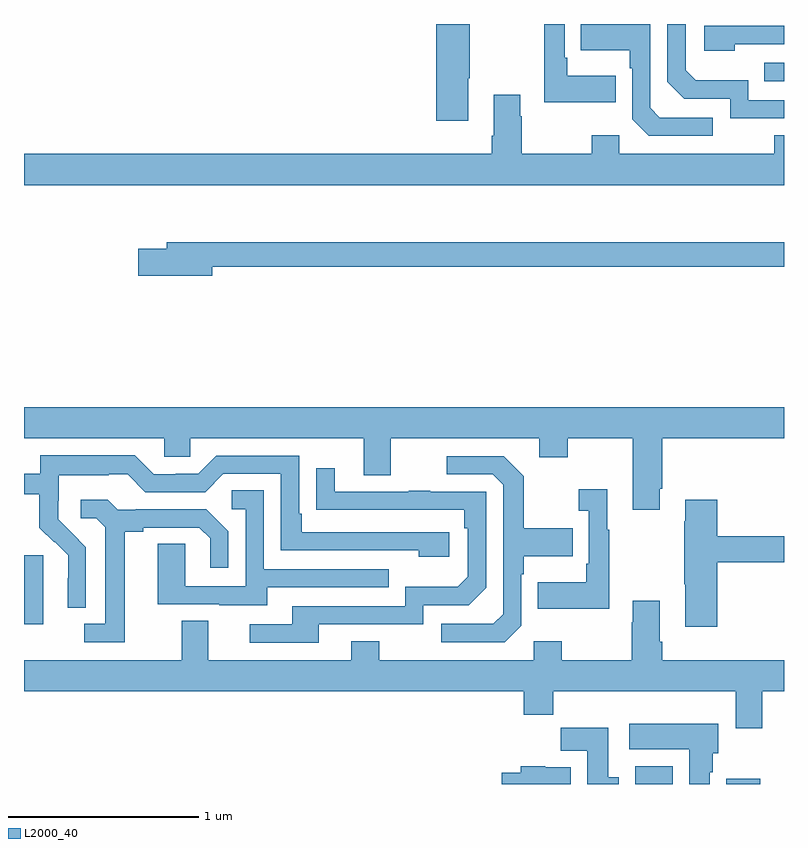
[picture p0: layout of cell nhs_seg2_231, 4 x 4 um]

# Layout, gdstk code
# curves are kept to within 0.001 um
import gdstk
lib = gdstk.Library(unit=1e-6, precision=1e-09)
def R(c, l, rs):  # rectangles x0, y0, x1, y1
    for r in rs: c.add(gdstk.rectangle(r[:2], r[2:], *l))
def P(c, l, *ps):  # polygons
    for p in ps: c.add(gdstk.Polygon(p, *l))
L2000_40 = (2000, 40)

nhs_seg2_231 = lib.new_cell('nhs_seg2_231')
R(nhs_seg2_231, L2000_40, [(124.217,661.8,124.414,661.894), (124.697,661.8,124.876,661.828), (121,662.642,121.102,663.003), (124.897,665.499,125,665.595)])
P(nhs_seg2_231, L2000_40, [(123.337,665.515),(123.345,665.515),(123.345,665.8),(123.17,665.8),(123.17,665.292),(123.337,665.292)],
  [(124.624,665.307),(124.347,665.307),(124.296,665.358),(124.296,665.8),(123.931,665.8),(123.931,665.663),(124.188,665.663),(124.188,665.567),(124.2,665.567),(124.2,665.298),(124.287,665.211),(124.624,665.211)],
  [(124.115,665.527),(123.859,665.527),(123.859,665.623),(123.846,665.623),(123.846,665.8),(123.738,665.8),(123.738,665.387),(124.115,665.387)],
  [(125,665.4),(124.812,665.4),(124.812,665.503),(124.535,665.503),(124.482,665.556),(124.482,665.8),(124.386,665.8),(124.386,665.496),(124.476,665.406),(124.716,665.406),(124.716,665.304),(125,665.304)],
  [(124.742,665.694),(125,665.694),(125,665.79),(124.581,665.79),(124.581,665.66),(124.742,665.66)],
  [(125,665.215),(124.948,665.215),(124.948,665.116),(124.134,665.116),(124.134,665.215),(123.988,665.215),(123.988,665.116),(123.621,665.116),(123.621,665.315),(123.613,665.315),(123.613,665.428),(123.473,665.428),(123.473,665.212),(123.461,665.212),(123.461,665.116),(121,665.116),(121,664.952),(125,664.952)],
  [(121.99,664.522),(125,664.522),(125,664.651),(121.751,664.651),(121.751,664.617),(121.602,664.617),(121.602,664.475),(121.99,664.475)],
  [(124.345,663.355),(124.358,663.355),(124.358,663.62),(125,663.62),(125,663.784),(121,663.784),(121,663.62),(121.737,663.62),(121.737,663.522),(121.875,663.522),(121.875,663.62),(122.789,663.62),(122.789,663.426),(122.929,663.426),(122.929,663.62),(123.713,663.62),(123.713,663.521),(123.861,663.521),(123.861,663.62),(124.205,663.62),(124.205,663.243),(124.345,663.243)],
  [(121.326,663.046),(121.18,663.194),(121.18,663.291),(121.182,663.291),(121.182,663.425),(121.445,663.425),(121.445,663.429),(121.545,663.429),(121.638,663.336),(121.953,663.336),(122.049,663.432),(122.352,663.432),(122.352,663.03),(123.077,663.03),(123.077,662.996),(123.238,662.996),(123.238,663.126),(122.461,663.126),(122.461,663.223),(122.448,663.223),(122.448,663.528),(122.013,663.528),(121.917,663.432),(121.799,663.432),(121.799,663.429),(121.683,663.429),(121.583,663.529),(121.086,663.529),(121.086,663.432),(121,663.432),(121,663.324),(121.081,663.324),(121.081,663.149),(121.158,663.072),(121.161,663.075),(121.232,663.005),(121.232,662.882),(121.23,662.882),(121.23,662.728),(121.326,662.728)],
  [(123.618,662.634),(123.618,662.903),(123.631,662.903),(123.631,662.999),(123.887,662.999),(123.887,663.147),(123.631,663.147),(123.631,663.419),(123.525,663.525),(123.225,663.525),(123.225,663.429),(123.468,663.429),(123.522,663.375),(123.522,662.694),(123.471,662.643),(123.195,662.643),(123.195,662.547),(123.531,662.547)],
  [(122.551,662.64),(123.102,662.64),(123.102,662.742),(123.342,662.742),(123.432,662.832),(123.432,663.339),(123.137,663.339),(123.137,663.344),(123.025,663.344),(123.025,663.339),(122.635,663.339),(122.635,663.463),(122.539,663.463),(122.539,663.244),(123.316,663.243),(123.316,663.146),(123.336,663.146),(123.336,662.892),(123.283,662.839),(123.006,662.839),(123.006,662.736),(122.411,662.736),(122.411,662.64),(122.187,662.64),(122.187,662.544),(122.551,662.544)],
  [(124.081,663.139),(124.069,663.139),(124.069,663.352),(123.921,663.352),(123.921,663.239),(123.972,663.239),(123.972,662.959),(123.96,662.959),(123.96,662.863),(123.703,662.863),(123.703,662.723),(124.081,662.723)],
  [(122.281,662.835),(122.921,662.835),(122.921,662.931),(122.262,662.931),(122.262,663.347),(122.094,663.347),(122.094,663.246),(122.166,663.246),(122.166,662.841),(121.848,662.841),(121.848,663.065),(121.703,663.065),(121.703,662.745),(122.027,662.745),(122.027,662.741),(122.281,662.741)],
  [(124.649,662.968),(125,662.968),(125,663.104),(124.649,663.104),(124.649,663.295),(124.481,663.295),(124.481,663.182),(124.474,663.182),(124.474,662.851),(124.481,662.851),(124.481,662.628),(124.649,662.628)],
  [(121.531,663.128),(121.627,663.128),(121.627,663.15),(121.922,663.15),(121.979,663.093),(121.979,662.937),(122.076,662.937),(122.076,663.13),(121.96,663.246),(121.588,663.246),(121.588,663.243),(121.494,663.243),(121.442,663.295),(121.299,663.295),(121.299,663.198),(121.38,663.198),(121.427,663.151),(121.427,662.643),(121.317,662.643),(121.317,662.547),(121.531,662.547)],
  [(124.885,662.288),(125,662.288),(125,662.452),(124.358,662.452),(124.358,662.548),(124.345,662.548),(124.345,662.764),(124.205,662.764),(124.205,662.651),(124.198,662.651),(124.198,662.452),(123.831,662.452),(123.831,662.551),(123.684,662.551),(123.684,662.452),(122.871,662.452),(122.871,662.551),(122.723,662.551),(122.723,662.452),(121.969,662.452),(121.969,662.66),(121.829,662.66),(121.829,662.452),(121,662.452),(121,662.288),(123.629,662.288),(123.629,662.164),(123.785,662.164),(123.785,662.288),(124.745,662.288),(124.745,662.094),(124.885,662.094)],
  [(124.609,661.862),(124.624,661.862),(124.624,661.962),(124.654,661.962),(124.654,662.116),(124.185,662.116),(124.185,661.982),(124.502,661.982),(124.502,661.8),(124.609,661.8)],
  [(124.129,661.836),(124.075,661.836),(124.075,662.095),(123.826,662.095),(123.826,661.976),(123.965,661.976),(123.965,661.8),(124.129,661.8)],
  [(123.877,661.888),(123.744,661.888),(123.744,661.894),(123.614,661.894),(123.614,661.858),(123.515,661.858),(123.515,661.8),(123.877,661.8)])

lib.write_gds('nhs_seg2_231.gds')
